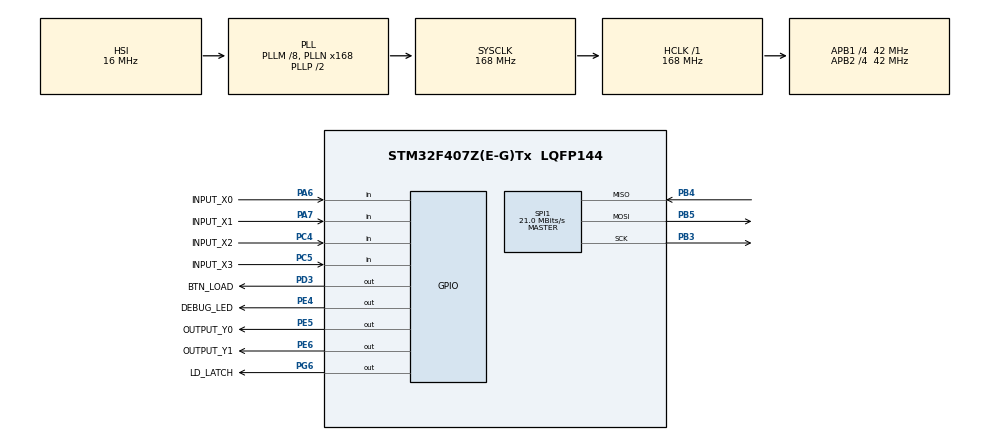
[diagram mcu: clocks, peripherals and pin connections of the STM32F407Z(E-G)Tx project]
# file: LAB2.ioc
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Mcu.Family=STM32F4
Mcu.Name=STM32F407Z(E-G)Tx
Mcu.Package=LQFP144
NVIC.PriorityGroup=NVIC_PRIORITYGROUP_4
NVIC.SPI1_IRQn=true\:0\:0\:false\:false\:true\:true\:true\:true
NVIC.TIM2_IRQn=true\:0\:0\:false\:false\:true\:true\:true\:true
NVIC.TIM3_IRQn=true\:0\:0\:false\:false\:true\:true\:true\:true
NVIC.TIM4_IRQn=true\:0\:0\:false\:false\:true\:true\:true\:true
PA13.Mode=Serial_Wire
PA13.Signal=SYS_JTMS-SWDIO
PA14.Mode=Serial_Wire
PA14.Signal=SYS_JTCK-SWCLK
PA6.GPIO_Label=INPUT_X0
PA6.Signal=GPIO_Input
PA7.GPIO_Label=INPUT_X1
PA7.Signal=GPIO_Input
PB3.Mode=Full_Duplex_Master
PB3.Signal=SPI1_SCK
PB4.Mode=Full_Duplex_Master
PB4.Signal=SPI1_MISO
PB5.Mode=Full_Duplex_Master
PB5.Signal=SPI1_MOSI
PC4.GPIO_Label=INPUT_X2
PC4.Signal=GPIO_Input
PC5.GPIO_Label=INPUT_X3
PC5.Signal=GPIO_Input
PD3.GPIO_Label=BTN_LOAD
PD3.Signal=GPIO_Output
PE4.GPIO_Label=DEBUG_LED
PE4.Signal=GPIO_Output
PE5.GPIO_Label=OUTPUT_Y0
PE5.Signal=GPIO_Output
PE6.GPIO_Label=OUTPUT_Y1
PE6.Signal=GPIO_Output
PG6.GPIO_Label=LD_LATCH
PG6.Signal=GPIO_Output
PH0-OSC_IN.Mode=HSE-External-Oscillator
PH0-OSC_IN.Signal=RCC_OSC_IN
PH1-OSC_OUT.Mode=HSE-External-Oscillator
PH1-OSC_OUT.Signal=RCC_OSC_OUT
ProjectManager.HeapSize=0x200
ProjectManager.StackSize=0x400
ProjectManager.TargetToolchain=STM32CubeIDE
RCC.48MHZClocksFreq_Value=84000000
RCC.AHBFreq_Value=168000000
RCC.APB1CLKDivider=RCC_HCLK_DIV4
RCC.APB1Freq_Value=42000000
RCC.APB1TimFreq_Value=84000000
RCC.APB2CLKDivider=RCC_HCLK_DIV4
RCC.APB2Freq_Value=42000000
RCC.APB2TimFreq_Value=84000000
RCC.CortexFreq_Value=168000000
RCC.HCLKFreq_Value=168000000
RCC.HSE_VALUE=8000000
RCC.HSI_VALUE=16000000
RCC.LSE_VALUE=32768
RCC.PLLM=8
RCC.PLLN=168
RCC.SYSCLKFreq_VALUE=168000000
RCC.SYSCLKSource=RCC_SYSCLKSOURCE_PLLCLK
RCC.VCOOutputFreq_Value=336000000
SPI1.CalculateBaudRate=21.0 MBits/s
SPI1.Direction=SPI_DIRECTION_2LINES
SPI1.Mode=SPI_MODE_MASTER
SPI1.VirtualType=VM_MASTER
TIM2.Period=100-1
TIM2.Prescaler=840-1
TIM3.Period=9
TIM3.Prescaler=8399
TIM4.Period=9
TIM4.Prescaler=8399
VP_TIM2_VS_ClockSourceINT.Mode=Internal
VP_TIM3_VS_ClockSourceINT.Mode=Internal
VP_TIM4_VS_ClockSourceINT.Mode=Internal
board=custom

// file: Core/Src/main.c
/* USER CODE BEGIN Header */
/**
 ******************************************************************************
 * @file           : main.c
 * @brief          : Main program body
 ******************************************************************************
 * @attention
 *
 * <h2><center>&copy; Copyright (c) 2025 STMicroelectronics.
 * All rights reserved.</center></h2>
 *
 * This software component is licensed by ST under BSD 3-Clause license,
 * the "License"; You may not use this file except in compliance with the
 * License. You may obtain a copy of the License at:
 *                        opensource.org/licenses/BSD-3-Clause
 *
 ******************************************************************************
 */
/* USER CODE END Header */
#include "main.h"

/* USER CODE BEGIN Includes */
#include "led_7seg.h"
#include "software_timer.h"
#include "stdint.h"
/* USER CODE END Includes */

SPI_HandleTypeDef hspi1;

TIM_HandleTypeDef htim2;
TIM_HandleTypeDef htim3;
TIM_HandleTypeDef htim4;

/* USER CODE BEGIN PV */
uint8_t ledY0 = 0;
uint8_t ledY1 = 0;
/* USER CODE END PV */

void SystemClock_Config(void);
static void MX_GPIO_Init(void);
static void MX_SPI1_Init(void);
static void MX_TIM2_Init(void);
static void MX_TIM3_Init(void);
static void MX_TIM4_Init(void);

/* USER CODE BEGIN 0 */
void catchAndResetFlag(void);
void systemTimer(void);
/* USER CODE END 0 */

int main(void) {

	/* MCU Configuration--------------------------------------------------------*/

	/* Reset of all peripherals, Initializes the Flash interface and the Systick. */
  	HAL_Init();

	/* Configure the system clock */
	SystemClock_Config();

	/* Initialize all configured peripherals */
	/* USER CODE BEGIN 2 */
	MX_GPIO_Init();
	MX_SPI1_Init();
	MX_TIM2_Init();
	MX_TIM3_Init();
	MX_TIM4_Init();
	systemTimer();
	led_7seg_init();

	led_7seg_set_digit(5, 0, 0);
	led_7seg_set_digit(6, 1, 0);
	led_7seg_set_digit(7, 2, 0);
	led_7seg_set_digit(8, 3, 0);

	/* USER CODE END 2 */

	/* Infinite loop */
	while (1) {

		/* USER CODE BEGIN 3 */
		catchAndResetFlag();
	}
	/* USER CODE END 3 */
}

void SystemClock_Config(void) {
	RCC_OscInitTypeDef RCC_OscInitStruct = { 0 };
	RCC_ClkInitTypeDef RCC_ClkInitStruct = { 0 };

	/** Configure the main internal regulator output voltage
	 */
	__HAL_RCC_PWR_CLK_ENABLE();
	__HAL_PWR_VOLTAGESCALING_CONFIG(PWR_REGULATOR_VOLTAGE_SCALE1);
	/** Initializes the RCC Oscillators according to the specified parameters
	 * in the RCC_OscInitTypeDef structure.
	 */
	RCC_OscInitStruct.OscillatorType = RCC_OSCILLATORTYPE_HSI;
	RCC_OscInitStruct.HSIState = RCC_HSI_ON;
	RCC_OscInitStruct.HSICalibrationValue = RCC_HSICALIBRATION_DEFAULT;
	RCC_OscInitStruct.PLL.PLLState = RCC_PLL_ON;
	RCC_OscInitStruct.PLL.PLLSource = RCC_PLLSOURCE_HSI;
	RCC_OscInitStruct.PLL.PLLM = 8;
	RCC_OscInitStruct.PLL.PLLN = 168;
	RCC_OscInitStruct.PLL.PLLP = RCC_PLLP_DIV2;
	RCC_OscInitStruct.PLL.PLLQ = 4;
	if (HAL_RCC_OscConfig(&RCC_OscInitStruct) != HAL_OK) {
		Error_Handler();
	}
	/** Initializes the CPU, AHB and APB buses clocks
	 */
	RCC_ClkInitStruct.ClockType = RCC_CLOCKTYPE_HCLK | RCC_CLOCKTYPE_SYSCLK
			| RCC_CLOCKTYPE_PCLK1 | RCC_CLOCKTYPE_PCLK2;
	RCC_ClkInitStruct.SYSCLKSource = RCC_SYSCLKSOURCE_PLLCLK;
	RCC_ClkInitStruct.AHBCLKDivider = RCC_SYSCLK_DIV1;
	RCC_ClkInitStruct.APB1CLKDivider = RCC_HCLK_DIV4;
	RCC_ClkInitStruct.APB2CLKDivider = RCC_HCLK_DIV4;

	if (HAL_RCC_ClockConfig(&RCC_ClkInitStruct, FLASH_LATENCY_5) != HAL_OK) {
		Error_Handler();
	}
}

static void MX_SPI1_Init(void) {

	/* SPI1 parameter configuration*/
	hspi1.Instance = SPI1;
	hspi1.Init.Mode = SPI_MODE_MASTER;
	hspi1.Init.Direction = SPI_DIRECTION_2LINES;
	hspi1.Init.DataSize = SPI_DATASIZE_8BIT;
	hspi1.Init.CLKPolarity = SPI_POLARITY_LOW;
	hspi1.Init.CLKPhase = SPI_PHASE_1EDGE;
	hspi1.Init.NSS = SPI_NSS_SOFT;
	hspi1.Init.BaudRatePrescaler = SPI_BAUDRATEPRESCALER_2;
	hspi1.Init.FirstBit = SPI_FIRSTBIT_MSB;
	hspi1.Init.TIMode = SPI_TIMODE_DISABLE;
	hspi1.Init.CRCCalculation = SPI_CRCCALCULATION_DISABLE;
	hspi1.Init.CRCPolynomial = 10;
	if (HAL_SPI_Init(&hspi1) != HAL_OK) {
		Error_Handler();
	}

}

static void MX_TIM2_Init(void) {

	TIM_ClockConfigTypeDef sClockSourceConfig = { 0 };
	TIM_MasterConfigTypeDef sMasterConfig = { 0 };

	htim2.Instance = TIM2;
	htim2.Init.Prescaler = 840 - 1;
	htim2.Init.CounterMode = TIM_COUNTERMODE_UP;
	htim2.Init.Period = 100 - 1;
	htim2.Init.ClockDivision = TIM_CLOCKDIVISION_DIV1;
	htim2.Init.AutoReloadPreload = TIM_AUTORELOAD_PRELOAD_DISABLE;
	if (HAL_TIM_Base_Init(&htim2) != HAL_OK) {
		Error_Handler();
	}
	sClockSourceConfig.ClockSource = TIM_CLOCKSOURCE_INTERNAL;
	if (HAL_TIM_ConfigClockSource(&htim2, &sClockSourceConfig) != HAL_OK) {
		Error_Handler();
	}
	sMasterConfig.MasterOutputTrigger = TIM_TRGO_RESET;
	sMasterConfig.MasterSlaveMode = TIM_MASTERSLAVEMODE_DISABLE;
	if (HAL_TIMEx_MasterConfigSynchronization(&htim2, &sMasterConfig)
			!= HAL_OK) {
		Error_Handler();
	}

}

static void MX_TIM3_Init(void) {

	TIM_ClockConfigTypeDef sClockSourceConfig = { 0 };
	TIM_MasterConfigTypeDef sMasterConfig = { 0 };

	htim3.Instance = TIM3;
	htim3.Init.Prescaler = 8399;
	htim3.Init.CounterMode = TIM_COUNTERMODE_UP;
	htim3.Init.Period = 9;
	htim3.Init.ClockDivision = TIM_CLOCKDIVISION_DIV1;
	htim3.Init.AutoReloadPreload = TIM_AUTORELOAD_PRELOAD_DISABLE;
	if (HAL_TIM_Base_Init(&htim3) != HAL_OK) {
		Error_Handler();
	}
	sClockSourceConfig.ClockSource = TIM_CLOCKSOURCE_INTERNAL;
	if (HAL_TIM_ConfigClockSource(&htim3, &sClockSourceConfig) != HAL_OK) {
		Error_Handler();
	}
	sMasterConfig.MasterOutputTrigger = TIM_TRGO_RESET;
	sMasterConfig.MasterSlaveMode = TIM_MASTERSLAVEMODE_DISABLE;
	if (HAL_TIMEx_MasterConfigSynchronization(&htim3, &sMasterConfig)
			!= HAL_OK) {
		Error_Handler();
	}

}

static void MX_TIM4_Init(void) {

	TIM_ClockConfigTypeDef sClockSourceConfig = { 0 };
	TIM_MasterConfigTypeDef sMasterConfig = { 0 };

	htim4.Instance = TIM4;
	htim4.Init.Prescaler = 8399;
	htim4.Init.CounterMode = TIM_COUNTERMODE_UP;
	htim4.Init.Period = 9;
	htim4.Init.ClockDivision = TIM_CLOCKDIVISION_DIV1;
	htim4.Init.AutoReloadPreload = TIM_AUTORELOAD_PRELOAD_DISABLE;
	if (HAL_TIM_Base_Init(&htim4) != HAL_OK) {
		Error_Handler();
	}
	sClockSourceConfig.ClockSource = TIM_CLOCKSOURCE_INTERNAL;
	if (HAL_TIM_ConfigClockSource(&htim4, &sClockSourceConfig) != HAL_OK) {
		Error_Handler();
	}
	sMasterConfig.MasterOutputTrigger = TIM_TRGO_RESET;
	sMasterConfig.MasterSlaveMode = TIM_MASTERSLAVEMODE_DISABLE;
	if (HAL_TIMEx_MasterConfigSynchronization(&htim4, &sMasterConfig)
			!= HAL_OK) {
		Error_Handler();
	}

}

static void MX_GPIO_Init(void) {
	GPIO_InitTypeDef GPIO_InitStruct = { 0 };

	/* GPIO Ports Clock Enable */
	__HAL_RCC_GPIOE_CLK_ENABLE();
	__HAL_RCC_GPIOH_CLK_ENABLE();
	__HAL_RCC_GPIOA_CLK_ENABLE();
	__HAL_RCC_GPIOC_CLK_ENABLE();
	__HAL_RCC_GPIOG_CLK_ENABLE();
	__HAL_RCC_GPIOD_CLK_ENABLE();
	__HAL_RCC_GPIOB_CLK_ENABLE();

	/*Configure GPIO pin Output Level */
	HAL_GPIO_WritePin(GPIOE, DEBUG_LED_Pin | OUTPUT_Y0_Pin | OUTPUT_Y1_Pin,
			GPIO_PIN_RESET);

	/*Configure GPIO pin Output Level */
	HAL_GPIO_WritePin(LD_LATCH_GPIO_Port, LD_LATCH_Pin, GPIO_PIN_RESET);

	/*Configure GPIO pin Output Level */
	HAL_GPIO_WritePin(BTN_LOAD_GPIO_Port, BTN_LOAD_Pin, GPIO_PIN_RESET);

	/*Configure GPIO pins : DEBUG_LED_Pin OUTPUT_Y0_Pin OUTPUT_Y1_Pin */
	GPIO_InitStruct.Pin = DEBUG_LED_Pin | OUTPUT_Y0_Pin | OUTPUT_Y1_Pin;
	GPIO_InitStruct.Mode = GPIO_MODE_OUTPUT_PP;
	GPIO_InitStruct.Pull = GPIO_NOPULL;
	GPIO_InitStruct.Speed = GPIO_SPEED_FREQ_LOW;
	HAL_GPIO_Init(GPIOE, &GPIO_InitStruct);

	/*Configure GPIO pins : INPUT_X0_Pin INPUT_X1_Pin */
	GPIO_InitStruct.Pin = INPUT_X0_Pin | INPUT_X1_Pin;
	GPIO_InitStruct.Mode = GPIO_MODE_INPUT;
	GPIO_InitStruct.Pull = GPIO_NOPULL;
	HAL_GPIO_Init(GPIOA, &GPIO_InitStruct);

	/*Configure GPIO pins : INPUT_X2_Pin INPUT_X3_Pin */
	GPIO_InitStruct.Pin = INPUT_X2_Pin | INPUT_X3_Pin;
	GPIO_InitStruct.Mode = GPIO_MODE_INPUT;
	GPIO_InitStruct.Pull = GPIO_NOPULL;
	HAL_GPIO_Init(GPIOC, &GPIO_InitStruct);

	/*Configure GPIO pin : LD_LATCH_Pin */
	GPIO_InitStruct.Pin = LD_LATCH_Pin;
	GPIO_InitStruct.Mode = GPIO_MODE_OUTPUT_PP;
	GPIO_InitStruct.Pull = GPIO_NOPULL;
	GPIO_InitStruct.Speed = GPIO_SPEED_FREQ_LOW;
	HAL_GPIO_Init(LD_LATCH_GPIO_Port, &GPIO_InitStruct);

	/*Configure GPIO pin : BTN_LOAD_Pin */
	GPIO_InitStruct.Pin = BTN_LOAD_Pin;
	GPIO_InitStruct.Mode = GPIO_MODE_OUTPUT_PP;
	GPIO_InitStruct.Pull = GPIO_NOPULL;
	GPIO_InitStruct.Speed = GPIO_SPEED_FREQ_LOW;
	HAL_GPIO_Init(BTN_LOAD_GPIO_Port, &GPIO_InitStruct);

}

/* USER CODE BEGIN 4 */

/**
 * @brief   Initialize all software timers
 * @note    TIM2 toggles DEBUG_LED every 1s
 *          TIM3 toggles OUTPUT_Y0 every 2s
 *          TIM4 toggles OUTPUT_Y1 every 4s
 * @param 	None
 * @retval  None
 */
void systemTimer(void) {
	timer2_init();
	timer2_set(1000);

	timer3_init();
	timer3_set(2000);

	timer4_init();
	timer4_set(1);
}
/**
 * @brief   Function
 * @note    None
 * @param 	None
 * @retval  None
 */
void func1() {
	HAL_GPIO_TogglePin(DEBUG_LED_GPIO_Port, DEBUG_LED_Pin);
}
void func2() {
	if (!ledY0) {
		HAL_GPIO_WritePin(OUTPUT_Y0_GPIO_Port, OUTPUT_Y0_Pin, GPIO_PIN_SET);
		ledY0 = 1;
		timer3_set(2000);
	} else if (ledY0) {
		HAL_GPIO_WritePin(OUTPUT_Y0_GPIO_Port, OUTPUT_Y0_Pin, GPIO_PIN_RESET);
		ledY0 = 0;
		timer3_set(4000);
	}
}
void func3() {

}
/**
 * @brief   Handle timer events and reset flags
 * @note    Called periodically in main loop to handle timer events
 * @param 	None
 * @retval  None
 */
void catchAndResetFlag(void) {
	if (timer2_flag == 1) {
		timer2_flag = 0;

		func1();
	}
	if (timer3_flag == 1) {
		timer3_flag = 0;

		func2();

	}
	if (timer4_flag == 1) {
		timer4_flag = 0;

		func3();
	}
}
/* USER CODE END 4 */

void Error_Handler(void) {
	__disable_irq();
	while (1) {
	}
}

/************************ (C) COPYRIGHT STMicroelectronics *****END OF FILE****/
